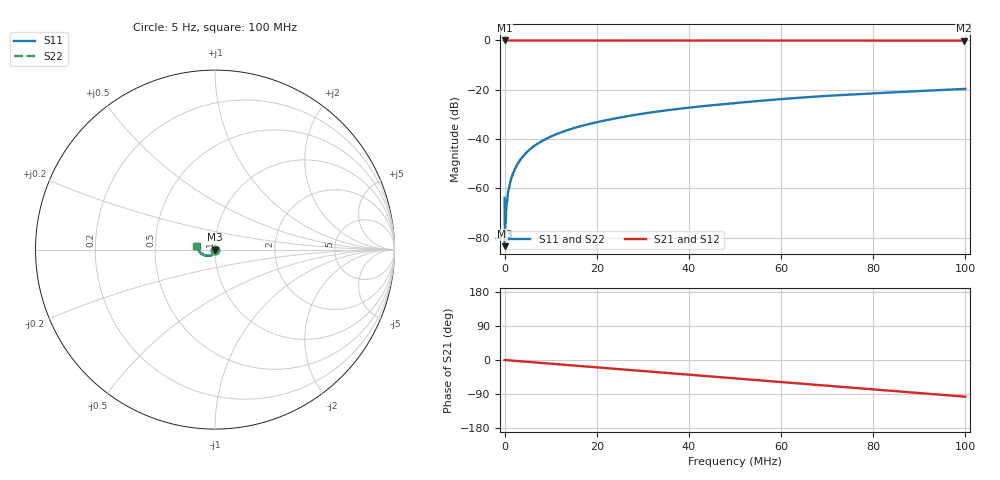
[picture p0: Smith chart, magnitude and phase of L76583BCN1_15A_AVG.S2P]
!Agilent Technologies,E5061B,MY49102235,A.02.00
!Date: Mon Jul 10 16:13:13 2023
!Data & Calibration Information:
!Freq	S11:SOLT2(ON)	S21:SOLT2(ON)	S12:SOLT2(ON)	S22:SOLT2(ON)
# Hz S RI R 50
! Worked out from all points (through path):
!   1600 points, 5 Hz to 100 MHz, reference 50 ohm
!   highest |S21| = 0.01 dB at 5 Hz (marker M1); lowest = -0.1 dB at 99.62 MHz (marker M2)
!   group delay of S21, straight-line fit = 2.69 ns
!   lowest |S11| = -83.5 dB at 62.54 kHz (marker M3), VSWR 1.00, Z = 50 - j0.00426 ohm
!   |S11| at or under -10 dB: start of sweep to end of sweep
!   |S22| runs from -78.4 to -19.6 dB; largest |S21 - S12| = 0.0027
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5  -0.00048 0.000422  1.002 0.0023  1.001 -6.2e-05  -0.000188 -6.2e-05
62544.08  -5.19e-05 -4.26e-05  1 -0.000846  1 -0.000688  1.1e-05 -0.00012
250161.3  4.61e-05 -0.000196  0.9998 -0.00438  0.9998 -0.00426  4.23e-05 -0.000212
562856.8  0.00012 -0.000522  0.9997 -0.00971  0.9997 -0.00932  7.4e-05 -0.000567
687934.9  -1.6e-05 -0.000765  1 -0.0115  1 -0.0117  -1.08e-05 -0.000699
938091.3  -0.000171 -0.00102  0.9994 -0.0158  0.9995 -0.0153  -0.000128 -0.00103
1063169  -6.87e-05 -0.00112  1 -0.0179  1 -0.0182  -4.1e-05 -0.00119
1375865  -4.89e-05 -0.00153  1 -0.0237  0.9993 -0.0235  -7.55e-05 -0.00153
1876178  -0.0001 -0.00209  0.9996 -0.032  0.9997 -0.0315  -5.95e-05 -0.00205
2439029  -0.000128 -0.00272  0.999 -0.0411  0.9987 -0.0413  -0.000143 -0.00275
3939967  -0.000244 -0.00442  0.9976 -0.0668  0.9976 -0.0665  -0.000293 -0.00435
6003757  -0.000586 -0.00678  0.9946 -0.1016  0.9947 -0.1013  -0.000728 -0.00671
8818016  -0.00134 -0.0098  0.9887 -0.1486  0.9888 -0.1485  -0.00149 -0.00965
1.250782e7  -0.00278 -0.0136  0.9773 -0.2101  0.9774 -0.2101  -0.00287 -0.0134
1.669794e7  -0.00508 -0.0177  0.96 -0.2787  0.9601 -0.2787  -0.00502 -0.0177
2.445279e7  -0.011 -0.0244  0.9153 -0.4019  0.9151 -0.402  -0.0108 -0.0247
3.333334e7  -0.02 -0.0304  0.8444 -0.5342  0.8444 -0.5341  -0.0196 -0.031
5.003127e7  -0.0412 -0.0346  0.6615 -0.7478  0.6615 -0.7479  -0.0416 -0.035
6.672921e7  -0.0662 -0.028  0.4266 -0.9014  0.4264 -0.9011  -0.0663 -0.0287
8.33646e7  -0.087 -0.00947  0.1589 -0.9829  0.1587 -0.9827  -0.0875 -0.0104
9.962477e7  -0.1023 0.0194  -0.1127 -0.9876  -0.1131 -0.9874  -0.1031 0.0179
1e8  -0.1025 0.0201  -0.119 -0.987  -0.1193 -0.9867  -0.1034 0.0185
